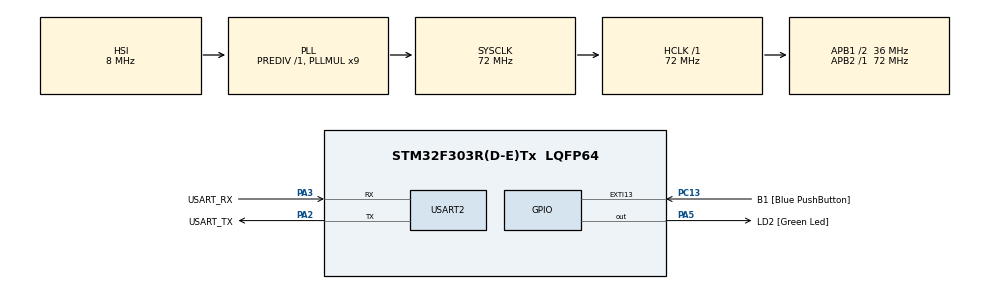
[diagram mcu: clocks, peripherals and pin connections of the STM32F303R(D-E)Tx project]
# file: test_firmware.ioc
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Mcu.Family=STM32F3
Mcu.Name=STM32F303R(D-E)Tx
Mcu.Package=LQFP64
NVIC.PriorityGroup=NVIC_PRIORITYGROUP_0
PA13.GPIO_Label=TMS
PA13.Mode=Serial_Wire
PA13.Signal=SYS_JTMS-SWDIO
PA14.GPIO_Label=TCK
PA14.Mode=Serial_Wire
PA14.Signal=SYS_JTCK-SWCLK
PA2.GPIO_Label=USART_TX
PA2.GPIO_Mode=GPIO_MODE_AF_PP
PA2.GPIO_PuPd=GPIO_NOPULL
PA2.GPIO_Speed=GPIO_SPEED_FREQ_LOW
PA2.Mode=Asynchronous
PA2.Signal=USART2_TX
PA3.GPIO_Label=USART_RX
PA3.GPIO_Mode=GPIO_MODE_AF_PP
PA3.GPIO_PuPd=GPIO_NOPULL
PA3.GPIO_Speed=GPIO_SPEED_FREQ_LOW
PA3.Mode=Asynchronous
PA3.Signal=USART2_RX
PA5.GPIO_Label=LD2 [Green Led]
PA5.GPIO_Mode=GPIO_MODE_OUTPUT_PP
PA5.GPIO_PuPd=GPIO_NOPULL
PA5.GPIO_Speed=GPIO_SPEED_FREQ_LOW
PA5.Signal=GPIO_Output
PB3.GPIO_Label=SWO
PB3.Signal=SYS_JTDO-TRACESWO
PC13.GPIO_Label=B1 [Blue PushButton]
PC13.GPIO_ModeDefaultEXTI=GPIO_MODE_IT_FALLING
PC13.Signal=GPXTI13
PC14-OSC32_IN.Mode=LSE-External-Clock-Source
PC14-OSC32_IN.Signal=RCC_OSC32_IN
PC15-OSC32_OUT.Signal=RCC_OSC32_OUT
PF0-OSC_IN.Mode=HSE-External-Clock-Source
PF0-OSC_IN.Signal=RCC_OSC_IN
PF1-OSC_OUT.Signal=RCC_OSC_OUT
ProjectManager.HeapSize=0x200
ProjectManager.StackSize=0x400
ProjectManager.TargetToolchain=Other Toolchains (GPDSC)
RCC.AHBFreq_Value=72000000
RCC.APB1CLKDivider=RCC_HCLK_DIV2
RCC.APB1Freq_Value=36000000
RCC.APB1TimFreq_Value=72000000
RCC.APB2Freq_Value=72000000
RCC.APB2TimFreq_Value=72000000
RCC.CortexFreq_Value=72000000
RCC.HCLKFreq_Value=72000000
RCC.HSE_VALUE=8000000
RCC.HSI_VALUE=8000000
RCC.LSE_VALUE=32768
RCC.PLLM=8
RCC.PLLMUL=RCC_PLL_MUL9
RCC.PLLN=336
RCC.PLLP=RCC_PLLP_DIV4
RCC.PLLQ=7
RCC.RCC_PLLsource_Clock_Source_FROM_HSE=RCC_HSE_PREDIV_DIV2
RCC.SYSCLKFreq_VALUE=72000000
RCC.SYSCLKSourceVirtual=RCC_SYSCLKSOURCE_PLLCLK
RCC.USBFreq_Value=72000000
USART2.VirtualMode-Asynchronous=VM_ASYNC
board=NUCLEO-F303RE

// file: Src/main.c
/* USER CODE BEGIN Header */
/**
 ******************************************************************************
 * @file           : main.c
 * @brief          : Main program body
 ******************************************************************************
 * @attention
 *
 * <h2><center>&copy; Copyright (c) 2019 STMicroelectronics.
 * All rights reserved.</center></h2>
 *
 * This software component is licensed by ST under BSD 3-Clause license,
 * the "License"; You may not use this file except in compliance with the
 * License. You may obtain a copy of the License at:
 *                        opensource.org/licenses/BSD-3-Clause
 *
 ******************************************************************************
 */
/* USER CODE END Header */

#include "main.h"
#include <string.h>

UART_HandleTypeDef huart2;
unsigned int gr_tick = 0;
enum valueRtn {
  GR_SUCCESS = 3889321827,
  GR_FAILURE = 3552161478,
  GR_UNKNOWN = 879491493
};

void SystemClock_Config(void);
static void MX_GPIO_Init(void);
static void MX_USART2_UART_Init(void);

/* USER CODE BEGIN 0 */

int checkValue(int value) {
  value++;
  if (value == 1) {
    return GR_SUCCESS;
  } else {
    return GR_FAILURE;
  }
}

int checkTick() {
  if (gr_tick == 0) {
    return 0;
  } else {
    return -1;
  }
}

/**
 * Let's keep timing information
 * Reference:
https://stackoverflow.com/questions/13379220/generating-nanosecond-delay-in-c-on-stm32
*/
uint32_t m_nStart; // DEBUG Stopwatch start cycle counter value
uint32_t m_nStop;  // DEBUG Stopwatch stop cycle counter value

uint32_t flash_start = 0; // DEBUG Stopwatch start cycle counter value
uint32_t flash_end = 0;   // DEBUG Stopwatch stop cycle counter valu

#define DEMCR_TRCENA 0x01000000

/* Core Debug registers */
#define DEMCR (*((volatile uint32_t *)0xE000EDFC))
#define DWT_CTRL (*(volatile uint32_t *)0xe0001000)
#define CYCCNTENA (1 << 0)
#define DWT_CYCCNT ((volatile uint32_t *)0xE0001004)
#define CPU_CYCLES *DWT_CYCCNT

#define STOPWATCH_START                                                        \
  { m_nStart = *((volatile unsigned int *)0xE0001004); }
#define STOPWATCH_STOP                                                         \
  { m_nStop = *((volatile unsigned int *)0xE0001004); }

static inline void stopwatch_reset(void) {
  /* Enable DWT */
  DEMCR |= DEMCR_TRCENA;
  *DWT_CYCCNT = 0;
  /* Enable CPU cycle counter */
  DWT_CTRL |= CYCCNTENA;
}

static inline uint32_t stopwatch_getticks() { return CPU_CYCLES; }

static inline void stopwatch_delay(uint32_t ticks) {
  uint32_t end_ticks = ticks + stopwatch_getticks();
  while (1) {
    if (stopwatch_getticks() >= end_ticks)
      break;
  }
}

/* USER CODE END 0 */

int main(void) {

  /* MCU Configuration--------------------------------------------------------*/

  /* Reset of all peripherals, Initializes the Flash interface and the Systick.
   */
  HAL_Init();

  /* Configure the system clock */
//  SystemClock_Config();

  /* Initialize all configured peripherals */
  MX_GPIO_Init();
  MX_USART2_UART_Init();

  /* Infinite loop */
  /* USER CODE BEGIN WHILE */
  int last_tick = -1;
  char buffer[100];
  // gr_tick = -1;
  u_int32_t loop_time = 0;

  sprintf(buffer, "Boot time: %d\n\r", stopwatch_getticks());
  HAL_UART_Transmit(&huart2, (uint8_t *)buffer, strlen(buffer), 0xFFFF);
  sprintf(buffer, "Flash time: %d\n\r", flash_end - flash_start);
  HAL_UART_Transmit(&huart2, (uint8_t *)buffer, strlen(buffer), 0xFFFF);

  while (last_tick != 0) {
    stopwatch_reset();

    /* USER CODE END WHILE */
    gr_tick = HAL_GetTick();
    int diff = (gr_tick - last_tick);

    if (checkValue(gr_tick) == GR_SUCCESS || checkTick() == 0) {
      while (1) {
        char buffer[] = "You win!";
        HAL_UART_Transmit(&huart2, (uint8_t *)buffer, strlen(buffer), 0xFFFF);
        HAL_Delay(100);
      }
    } else {
      sprintf(buffer, "no %d %d\n\r", diff, gr_tick);

      HAL_GPIO_TogglePin(LD2_GPIO_Port, LD2_Pin);
      HAL_Delay(500);
    }
    HAL_UART_Transmit(&huart2, (uint8_t *)buffer, strlen(buffer), 0xFFFF);

    last_tick = gr_tick;
    /* USER CODE BEGIN 3 */

    loop_time = stopwatch_getticks();
    sprintf(buffer, "Loop time: %d\n\r", loop_time);
    HAL_UART_Transmit(&huart2, (uint8_t *)buffer, strlen(buffer), 0xFFFF);
  }
  while (1) {
    char buffer[] = "You win!";
    HAL_UART_Transmit(&huart2, (uint8_t *)buffer, strlen(buffer), 0xFFFF);
    HAL_Delay(100);
  }
  /* USER CODE END 3 */
}

void SystemClock_Config(void) {
  RCC_OscInitTypeDef RCC_OscInitStruct = {0};
  RCC_ClkInitTypeDef RCC_ClkInitStruct = {0};
  RCC_PeriphCLKInitTypeDef PeriphClkInit = {0};

  /** Initializes the CPU, AHB and APB busses clocks
   */
  RCC_OscInitStruct.OscillatorType = RCC_OSCILLATORTYPE_HSI;
  RCC_OscInitStruct.HSIState = RCC_HSI_ON;
  RCC_OscInitStruct.HSICalibrationValue = RCC_HSICALIBRATION_DEFAULT;
  RCC_OscInitStruct.PLL.PLLState = RCC_PLL_ON;
  RCC_OscInitStruct.PLL.PLLSource = RCC_PLLSOURCE_HSI;
  RCC_OscInitStruct.PLL.PLLMUL = RCC_PLL_MUL9;
  RCC_OscInitStruct.PLL.PREDIV = RCC_PREDIV_DIV1;
  if (HAL_RCC_OscConfig(&RCC_OscInitStruct) != HAL_OK) {
    Error_Handler();
  }
  /** Initializes the CPU, AHB and APB busses clocks
   */
  RCC_ClkInitStruct.ClockType = RCC_CLOCKTYPE_HCLK | RCC_CLOCKTYPE_SYSCLK |
                                RCC_CLOCKTYPE_PCLK1 | RCC_CLOCKTYPE_PCLK2;
  RCC_ClkInitStruct.SYSCLKSource = RCC_SYSCLKSOURCE_PLLCLK;
  RCC_ClkInitStruct.AHBCLKDivider = RCC_SYSCLK_DIV1;
  RCC_ClkInitStruct.APB1CLKDivider = RCC_HCLK_DIV2;
  RCC_ClkInitStruct.APB2CLKDivider = RCC_HCLK_DIV1;

  if (HAL_RCC_ClockConfig(&RCC_ClkInitStruct, FLASH_LATENCY_2) != HAL_OK) {
    Error_Handler();
  }
  PeriphClkInit.PeriphClockSelection = RCC_PERIPHCLK_USART2;
  PeriphClkInit.Usart2ClockSelection = RCC_USART2CLKSOURCE_PCLK1;
  if (HAL_RCCEx_PeriphCLKConfig(&PeriphClkInit) != HAL_OK) {
    Error_Handler();
  }
}

static void MX_USART2_UART_Init(void) {

  huart2.Instance = USART2;
  huart2.Init.BaudRate = 38400;
  huart2.Init.WordLength = UART_WORDLENGTH_8B;
  huart2.Init.StopBits = UART_STOPBITS_1;
  huart2.Init.Parity = UART_PARITY_NONE;
  huart2.Init.Mode = UART_MODE_TX_RX;
  huart2.Init.HwFlowCtl = UART_HWCONTROL_NONE;
  huart2.Init.OverSampling = UART_OVERSAMPLING_16;
  huart2.Init.OneBitSampling = UART_ONE_BIT_SAMPLE_DISABLE;
  huart2.AdvancedInit.AdvFeatureInit = UART_ADVFEATURE_NO_INIT;
  if (HAL_UART_Init(&huart2) != HAL_OK) {
    Error_Handler();
  }
}

static void MX_GPIO_Init(void) {
  GPIO_InitTypeDef GPIO_InitStruct = {0};

  /* GPIO Ports Clock Enable */
  __HAL_RCC_GPIOC_CLK_ENABLE();
  __HAL_RCC_GPIOF_CLK_ENABLE();
  __HAL_RCC_GPIOA_CLK_ENABLE();
  __HAL_RCC_GPIOB_CLK_ENABLE();

  /*Configure GPIO pin Output Level */
  HAL_GPIO_WritePin(LD2_GPIO_Port, LD2_Pin, GPIO_PIN_RESET);

  /*Configure GPIO pin : B1_Pin */
  GPIO_InitStruct.Pin = B1_Pin;
  GPIO_InitStruct.Mode = GPIO_MODE_IT_FALLING;
  GPIO_InitStruct.Pull = GPIO_NOPULL;
  HAL_GPIO_Init(B1_GPIO_Port, &GPIO_InitStruct);

  /*Configure GPIO pin : LD2_Pin */
  GPIO_InitStruct.Pin = LD2_Pin;
  GPIO_InitStruct.Mode = GPIO_MODE_OUTPUT_PP;
  GPIO_InitStruct.Pull = GPIO_NOPULL;
  GPIO_InitStruct.Speed = GPIO_SPEED_FREQ_LOW;
  HAL_GPIO_Init(LD2_GPIO_Port, &GPIO_InitStruct);
}

void Error_Handler(void) {
}

#ifdef USE_FULL_ASSERT
/**
 * @brief  Reports the name of the source file and the source line number
 *         where the assert_param error has occurred.
 * @param  file: pointer to the source file name
 * @param  line: assert_param error line source number
 * @retval None
 */
void assert_failed(char *file, uint32_t line) {
  /* USER CODE BEGIN 6 */
  /* User can add his own implementation to report the file name and line
     number,
     tex: printf("Wrong parameters value: file %s on line %d\r\n", file, line)
   */
  /* USER CODE END 6 */
}
#endif /* USE_FULL_ASSERT */

/************************ (C) COPYRIGHT STMicroelectronics *****END OF FILE****/
